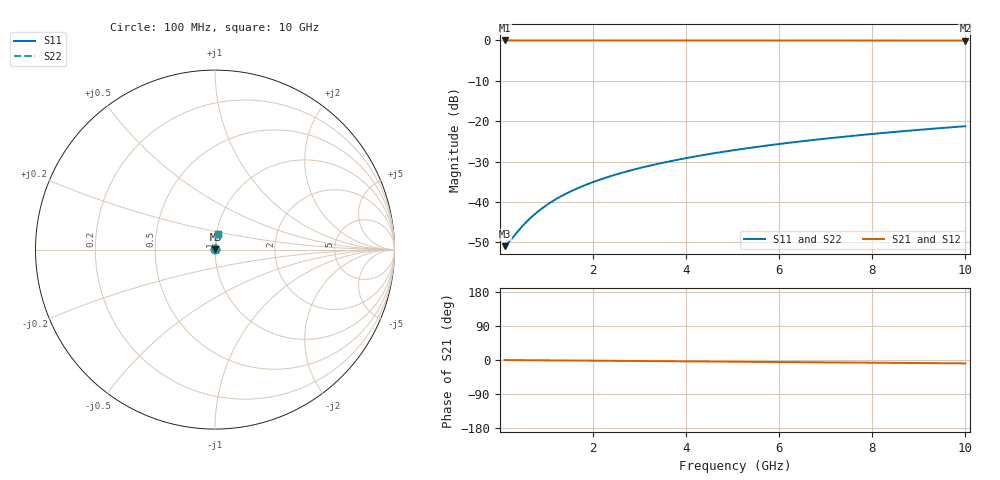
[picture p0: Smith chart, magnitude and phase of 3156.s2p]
# Hz S RI R 50.00
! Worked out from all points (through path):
!   100 points, 100 MHz to 10 GHz, reference 50 ohm
!   highest |S21| = -0.02 dB at 100 MHz (marker M1); lowest = -0.1 dB at 10 GHz (marker M2)
!   group delay of S21, straight-line fit = 2.47 ps
!   lowest |S11| = -51.0 dB at 100 MHz (marker M3), VSWR 1.01, Z = 50.3 + j0.0869 ohm
!   |S11| at or under -10 dB: start of sweep to end of sweep
!   |S22| runs from -51.0 to -21.3 dB; largest |S21 - S12| = 0
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1e8  0.0027 0.000864  0.9973 -0.00155  0.9973 -0.00155  0.0027 0.000864
2e8  0.00272 0.00173  0.9973 -0.0031  0.9973 -0.0031  0.00272 0.00173
4e8  0.00276 0.00346  0.9972 -0.0062  0.9972 -0.0062  0.00276 0.00346
5e8  0.00278 0.00432  0.9972 -0.00775  0.9972 -0.00775  0.00278 0.00432
6e8  0.0028 0.00518  0.9972 -0.0093  0.9972 -0.0093  0.0028 0.00518
7e8  0.00283 0.00605  0.9972 -0.0108  0.9972 -0.0108  0.00283 0.00605
9e8  0.00288 0.00778  0.9971 -0.0139  0.9971 -0.0139  0.00288 0.00778
1.1e9  0.00294 0.0095  0.997 -0.017  0.997 -0.017  0.00294 0.0095
1.3e9  0.00302 0.0112  0.9969 -0.0201  0.9969 -0.0201  0.00302 0.0112
1.5e9  0.0031 0.013  0.9968 -0.0232  0.9968 -0.0232  0.0031 0.013
1.8e9  0.00325 0.0155  0.9967 -0.0279  0.9967 -0.0279  0.00325 0.0155
2.1e9  0.00341 0.0181  0.9965 -0.0325  0.9965 -0.0325  0.00341 0.0181
2.5e9  0.00367 0.0216  0.9962 -0.0387  0.9962 -0.0387  0.00367 0.0216
2.9e9  0.00398 0.025  0.9958 -0.0449  0.9958 -0.0449  0.00398 0.025
3.4e9  0.00441 0.0293  0.9953 -0.0526  0.9953 -0.0526  0.00441 0.0293
4.2e9  0.00525 0.0362  0.9943 -0.065  0.9943 -0.065  0.00525 0.0362
5.1e9  0.00639 0.0439  0.993 -0.0789  0.993 -0.0789  0.00639 0.0439
5.9e9  0.00759 0.0507  0.9916 -0.0912  0.9916 -0.0912  0.00759 0.0507
6.7e9  0.00895 0.0575  0.9899 -0.1035  0.9899 -0.1035  0.00895 0.0575
7.5e9  0.0105 0.0642  0.9881 -0.1157  0.9881 -0.1157  0.0105 0.0642
8.4e9  0.0124 0.0717  0.9859 -0.1295  0.9859 -0.1295  0.0124 0.0717
1e10  0.0163 0.085  0.9812 -0.1538  0.9812 -0.1538  0.0163 0.085
